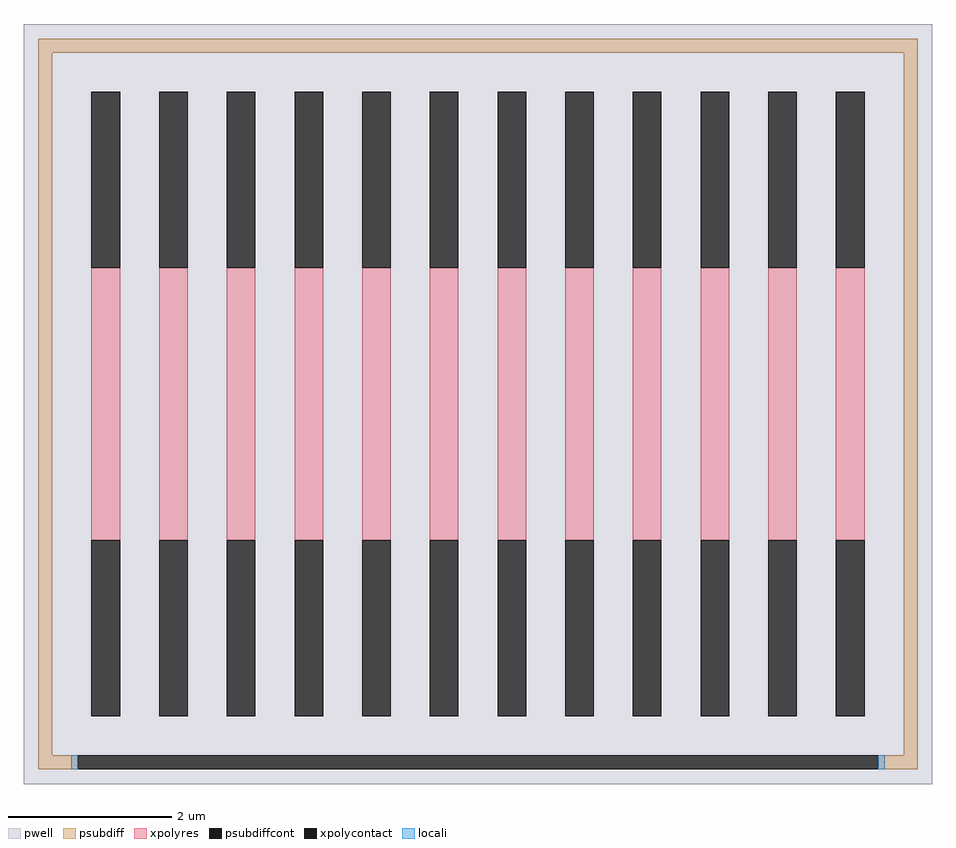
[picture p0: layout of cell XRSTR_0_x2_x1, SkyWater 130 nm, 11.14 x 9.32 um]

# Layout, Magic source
magic
tech sky130A
<< pwell >>
rect -557 -466 557 466
<< psubdiff >>
rect -539 431 539 448
rect -539 -431 -522 431
rect 522 -431 539 431
rect -539 -448 -491 -431
rect 491 -448 539 -431
<< psubdiffcont >>
rect -491 -448 491 -431
<< xpolycontact >>
rect -474 167 -439 383
rect -474 -383 -439 -167
rect -391 167 -356 383
rect -391 -383 -356 -167
rect -308 167 -273 383
rect -308 -383 -273 -167
rect -225 167 -190 383
rect -225 -383 -190 -167
rect -142 167 -107 383
rect -142 -383 -107 -167
rect -59 167 -24 383
rect -59 -383 -24 -167
rect 24 167 59 383
rect 24 -383 59 -167
rect 107 167 142 383
rect 107 -383 142 -167
rect 190 167 225 383
rect 190 -383 225 -167
rect 273 167 308 383
rect 273 -383 308 -167
rect 356 167 391 383
rect 356 -383 391 -167
rect 439 167 474 383
rect 439 -383 474 -167
<< xpolyres >>
rect -474 -167 -439 167
rect -391 -167 -356 167
rect -308 -167 -273 167
rect -225 -167 -190 167
rect -142 -167 -107 167
rect -59 -167 -24 167
rect 24 -167 59 167
rect 107 -167 142 167
rect 190 -167 225 167
rect 273 -167 308 167
rect 356 -167 391 167
rect 439 -167 474 167
<< locali >>
rect -499 -448 -491 -431
rect 491 -448 499 -431
<< properties >>
string FIXED_BBOX -530 -439 530 439
<< end >>
